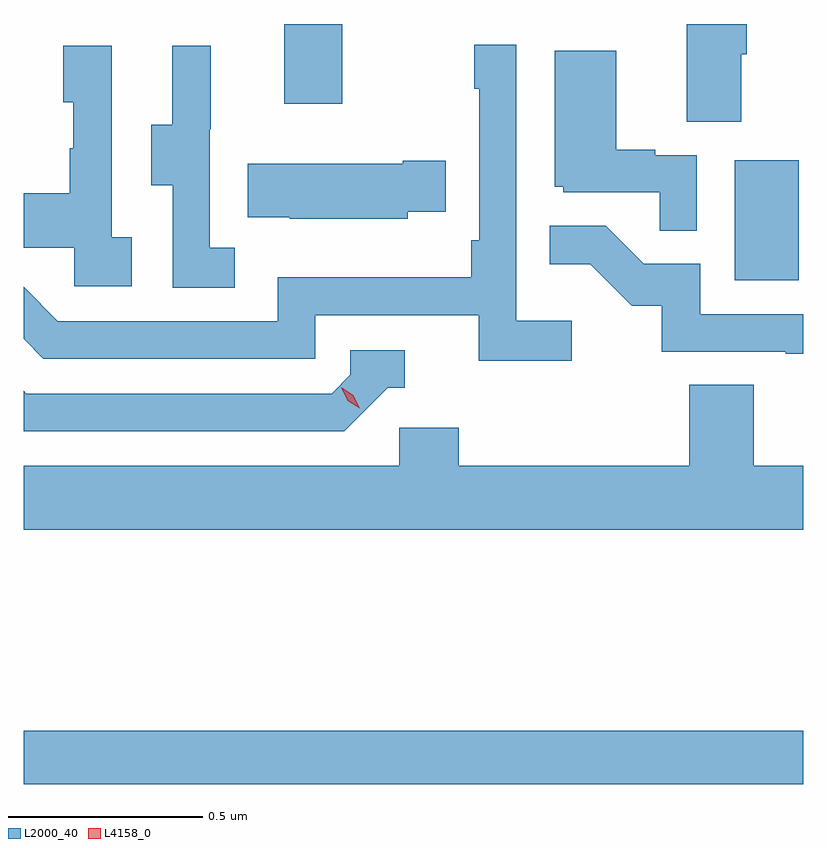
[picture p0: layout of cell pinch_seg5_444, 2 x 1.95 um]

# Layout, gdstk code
import gdstk
lib = gdstk.Library(unit=1e-6, precision=1e-09)
def R(c, l, rs):  # rectangles x0, y0, x1, y1
    for r in rs: c.add(gdstk.rectangle(r[:2], r[2:], *l))
def P(c, l, *ps):  # polygons
    for p in ps: c.add(gdstk.Polygon(p, *l))
L2000_40 = (2000, 40)
L4158_0 = (4158, 0)

pinch_seg5_444 = lib.new_cell('pinch_seg5_444')
R(pinch_seg5_444, L2000_40, [(937.208,865.432,939.208,865.568), (939.032,866.724,939.196,867.031), (937.877,867.177,938.025,867.381)])
P(pinch_seg5_444, L2000_40, [(939.049,867.304),(939.062,867.304),(939.062,867.381),(938.909,867.381),(938.909,867.13),(939.049,867.13)],
  [(938.614,866.62),(938.472,866.62),(938.472,867.328),(938.364,867.328),(938.364,867.215),(938.376,867.215),(938.376,866.827),(938.356,866.827),(938.356,866.731),(937.86,866.731),(937.86,866.619),(937.296,866.619),(937.208,866.707),(937.208,866.574),(937.259,866.523),(937.956,866.523),(937.956,866.634),(938.375,866.634),(938.375,866.518),(938.614,866.518)],
  [(937.486,866.834),(937.434,866.834),(937.434,867.325),(937.31,867.325),(937.31,867.18),(937.336,867.18),(937.336,867.062),(937.326,867.062),(937.326,866.947),(937.208,866.947),(937.208,866.807),(937.338,866.807),(937.338,866.709),(937.486,866.709)],
  [(937.75,866.807),(937.686,866.807),(937.686,867.111),(937.688,867.111),(937.688,867.325),(937.589,867.325),(937.589,867.123),(937.535,867.123),(937.535,866.968),(937.59,866.968),(937.59,866.704),(937.75,866.704)],
  [(938.934,867.045),(938.828,867.045),(938.828,867.058),(938.728,867.058),(938.728,867.313),(938.57,867.313),(938.57,866.964),(938.592,866.964),(938.592,866.949),(938.839,866.949),(938.839,866.851),(938.934,866.851)],
  [(938.193,866.9),(938.291,866.9),(938.291,867.03),(938.18,867.03),(938.18,867.022),(937.783,867.022),(937.783,866.885),(937.891,866.885),(937.891,866.882),(938.193,866.882)],
  [(939.208,866.637),(938.943,866.637),(938.943,866.766),(938.799,866.766),(938.701,866.864),(938.557,866.864),(938.557,866.765),(938.661,866.765),(938.768,866.658),(938.845,866.658),(938.845,866.541),(939.163,866.541),(939.163,866.536),(939.208,866.536)],
  [(938.142,866.448),(938.185,866.448),(938.185,866.544),(938.046,866.544),(938.046,866.481),(937.998,866.433),(937.215,866.433),(937.208,866.44),(937.208,866.337),(938.031,866.337)],
  [(939.208,866.248),(939.08,866.248),(939.08,866.456),(938.915,866.456),(938.915,866.248),(938.324,866.248),(938.324,866.346),(938.172,866.346),(938.172,866.248),(937.208,866.248),(937.208,866.084),(939.208,866.084)])
P(pinch_seg5_444, L4158_0, [(938.07,866.396),(938.039,866.415),(938.023,866.448),(938.023,866.448),(938.024,866.448),(938.054,866.429),(938.07,866.396),(938.07,866.396)])

lib.write_gds('pinch_seg5_444.gds')
